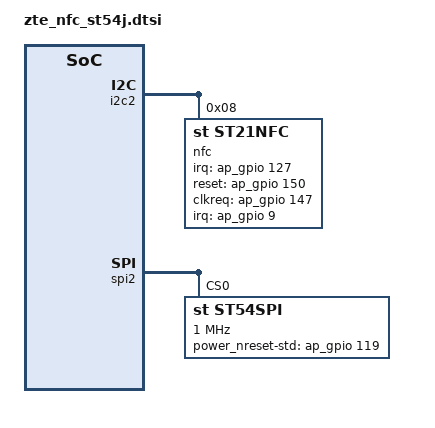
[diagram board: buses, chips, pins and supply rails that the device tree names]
&i2c2 {
        status = "okay";
        nfc@8 {
                compatible = "st,st21nfc";
                reg = <0x8>;
                interrupt-parent = <&ap_gpio>;
                interrupts = <9 0>;
                irq-gpios = <&ap_gpio 127 0>;
                reset-gpios = <&ap_gpio 150 0>;
                clkreq-gpios = <&ap_gpio 147 0>;
                interrupt-names = "nfc_int";
                clock-names = "clk_aux1","ext_26m","aux1_eb";
                clocks = <&aonapb_gate CLK_AUX1>, <&pmu_gate CLK_26M_AUD>, <&aonapb_gate CLK_AUX1_EB>;
        };
};
&spi2 {
	status = "okay";
        st54spi@0 {
                compatible = "st,st54spi";
                reg = <0>;
                spi-max-frequency = <1000000>;
                gpio-power_nreset-std = <&ap_gpio 119 0>;
                /*pinctrl-names = "pinctrl_state_mode_idle", "pinctrl_state_mode_spi";
                pinctrl-0 = <&pinctrl_state_mode_idle>;
                pinctrl-1 = <&pinctrl_state_mode_spi>;*/
                power_mode = "ST54J";
        };
};
